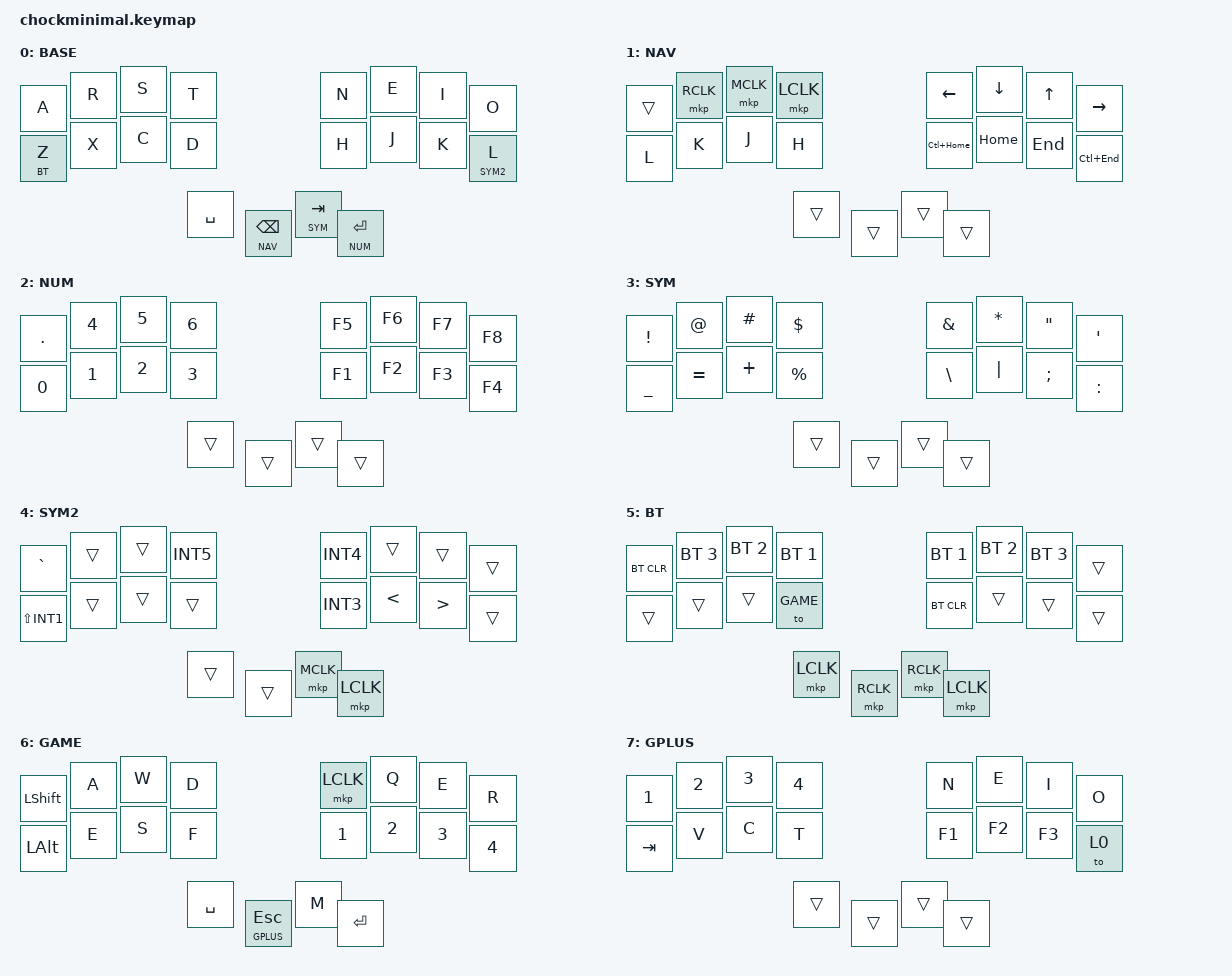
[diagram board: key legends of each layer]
#include <dt-bindings/zmk/mouse.h>
#include <behaviors/mouse_keys.dtsi>
#include <behaviors.dtsi>
#include <dt-bindings/zmk/bt.h>
#include <dt-bindings/zmk/keys.h>
#include <dt-bindings/zmk/outputs.h>
#include <dt-bindings/zmk/pointing.h>

/ {
  chosen { zmk,physical-layout = &chockminimal_layout; };
};

#define COMBO(NAME, LAYER, TIMEOUT, KEYPOS) \
    combo_##NAME { \
        layers = <LAYER>; \
        timeout-ms = <TIMEOUT>; \
        key-positions = <KEYPOS>; \
        bindings = <&kp NAME>; \
    };

#define MCOMBO(NAME, LAYER, TIMEOUT, KEYPOS) \
    combo_##NAME { \
        layers = <LAYER>; \
        timeout-ms = <TIMEOUT>; \
        key-positions = <KEYPOS>; \
        bindings = <&NAME>; \
    };

&lt {
    flavor = "tap-preferred";
    tapping-term-ms = <200>;
    quick-tap-ms = <0>;
};

&sl {
  release-after-ms = <2000>;
};

/ {
    behaviors {
        hml: homerow_mods_left {
            compatible = "zmk,behavior-hold-tap";
            #binding-cells = <2>;
            tapping-term-ms = <240>;
            quick_tap_ms = <0>;
            flavor = "balanced";
            bindings = <&kp>, <&kp>;
            hold-trigger-key-positions = <4 5 6 7 12 13 14 15 18 19>;
            hold-trigger-on-release;
        };
        hmr: homerow_mods_right {
            compatible = "zmk,behavior-hold-tap";
            #binding-cells = <2>;
            tapping-term-ms = <240>;
            quick_tap_ms = <0>;
            flavor = "balanced";
            bindings = <&kp>, <&kp>;
            hold-trigger-key-positions = <0 1 2 3 8 9 10 11 16 17>;
            hold-trigger-on-release;
        };
    };
    
     macros {
             meh: meh {
         	    label = "meh";
         	    compatible = "zmk,behavior-macro";
         	    #binding-cells = <0>;
         	    bindings
         	    	= <&macro_press   &sk LS(LC(LALT))>
         		, <&macro_pause_for_release>
         		, <&macro_release &sk LS(LC(LALT))>
         		;
             };
             
             hyper: hyper {
         	    label = "hyper";
         	    compatible = "zmk,behavior-macro";
         	    #binding-cells = <0>;
         	    bindings
         	    	= <&macro_press   &sk LS(LA(LC(LGUI)))>
         		, <&macro_pause_for_release>
         		, <&macro_release &sk LS(LA(LC(LGUI)))>
         		;
             };

             sls: sls {
               label = "sls";
               compatible = "zmk,behavior-macro";
               #binding-cells = <0>;
               bindings
                = <&macro_press &sk LSHFT>
                , <&macro_pause_for_release>
                , <&macro_release &sk LSHFT>
                ;
             };

             srs: srs {
               label = "srs";
               compatible = "zmk,behavior-macro";
               #binding-cells = <0>;
               bindings
                = <&macro_press &sk RSHFT>
                , <&macro_pause_for_release>
                , <&macro_release &sk RSHFT>
                ;
             };

             slc: slc {
               label = "slc";
               compatible = "zmk,behavior-macro";
               #binding-cells = <0>;
               bindings
                = <&macro_press &sk LCTRL>
                , <&macro_pause_for_release>
                , <&macro_release &sk LCTRL>
                ;
             };

             src: src {
               label = "src";
               compatible = "zmk,behavior-macro";
               #binding-cells = <0>;
               bindings
                = <&macro_press &sk RCTRL>
                , <&macro_pause_for_release>
                , <&macro_release &sk RCTRL>
                ;
             };

             sla: sla {
               label = "sla";
               compatible = "zmk,behavior-macro";
               #binding-cells = <0>;
               bindings
                = <&macro_press &sk LALT>
                , <&macro_pause_for_release>
                , <&macro_release &sk LALT>
                ;
             };

             sra: sra {
               label = "sra";
               compatible = "zmk,behavior-macro";
               #binding-cells = <0>;
               bindings
                = <&macro_press &sk RALT>
                , <&macro_pause_for_release>
                , <&macro_release &sk RALT>
                ;
             };

             slg: slg {
               label = "slg";
               compatible = "zmk,behavior-macro";
               #binding-cells = <0>;
               bindings
                = <&macro_press &sk LGUI>
                , <&macro_pause_for_release>
                , <&macro_release &sk LGUI>
                ;
             };

             srg: srg {
               label = "srg";
               compatible = "zmk,behavior-macro";
               #binding-cells = <0>;
               bindings
                = <&macro_press &sk RGUI>
                , <&macro_pause_for_release>
                , <&macro_release &sk RGUI>
                ;
             };
     };

     combos {
       compatible = "zmk,combos";

       COMBO(Q,      0, 55,  0  8)
       MCOMBO(slg,   0, 50,  0 16)
       COMBO(F,      0, 55,  1  2)
       COMBO(W,      0, 55,  1  9)
       COMBO(N7,     2, 50,  1  9)
       MCOMBO(sla,   0, 55,  1 16)
       COMBO(P,      0, 45,  2  3)
       COMBO(LPAR,   3, 50,  2  3)
       COMBO(N8,     2, 50,  2 10)
       MCOMBO(slc,   0, 55,  2 16)
       COMBO(G,      0, 50,  3 11)
       COMBO(N9,     2, 50,  3 11)
       COMBO(LBKT,   3, 50,  3 11)
       COMBO(LSHFT,  0, 55,  3 16)
       COMBO(ESC,    0, 50,  8  9)
       COMBO(B,      0, 50,  9 10)
       COMBO(V,      0, 60, 10 11)
       COMBO(LBRC,   3, 50, 10 11)
       COMBO(LANG2,  0, 50, 16 17)

       COMBO(U,      0, 35,  4  5)
       COMBO(RPAR,   3, 50,  4  5)
       COMBO(DOT,    0, 50,  4 12)
       COMBO(RBKT,   3, 50,  4 12)
       COMBO(F9,     2, 50,  4 12)
       MCOMBO(srs,   0, 55,  4 19)
       COMBO(Y,      0, 50,  5  6)
       COMBO(COMMA,  0, 50,  5 13)
       COMBO(F10,    2, 50,  5 13)
       MCOMBO(src,   0, 55,  5 19)
       COMBO(MINUS,  0, 55,  6  7)
       COMBO(F11,    2, 50,  6 14)
       MCOMBO(sra,   0, 55,  6 19)
       COMBO(F12,    2, 50,  7 15)
       MCOMBO(srg,   0, 55,  7 19)
       COMBO(M,      0, 50, 12 13)
       COMBO(RBRC,   3, 50, 12 13)
       COMBO(FSLH,   0, 55, 12 14)
       COMBO(DEL,    0, 55, 12 15)
       MCOMBO(caps_word, 0, 55, 14 15)
       COMBO(LANG1,  0, 50, 18 19)

     };

  keymap {
    compatible = "zmk,keymap";
    // ╭─────────────┬─────────────┬─────────────┬─────────────╮   ╭─────────────┬─────────────┬─────────────┬─────────────┐
    //    0             1             2             3                 4             5             6             7
    // ├─────────────┼─────────────┼─────────────┼─────────────┤   ├─────────────┼─────────────┼─────────────┼─────────────┤
    //    8             9            10            11                12            13            14            15
    // ├─────────────┼─────────────┼─────────────┼─────────────┤   ├─────────────┼─────────────┼─────────────┼─────────────┤
    //                             ╭─────────────┬─────────────╮   ╭─────────────┬─────────────╮
    //                               16            17                18            19
    //                             ╰─────────────┴─────────────╯   ╰─────────────┴─────────────╯


    base_layer {
      display-name = "BASE";
      bindings = <

      // ╭─────────────────┬─────────────────┬─────────────────┬─────────────────╮ ╭─────────────┬─────────────────┬─────────────────┬─────────────────┐
          &kp A             &kp R             &kp S             &kp T               &kp N         &kp E             &kp I             &kp O
      // ├─────────────────┼─────────────────┼─────────────────┼─────────────────┤ ├─────────────┼─────────────────┼─────────────────┼─────────────────┤
          &lt BT Z          &kp X             &kp C             &kp D               &kp H         &kp J             &kp K             &lt SYM2 L
      // ├─────────────────┼─────────────────┼─────────────────┼─────────────────┤ ├─────────────┼─────────────────┼─────────────────┼─────────────────┤
      //                   ╭──────────────────────────┬──────────────────────────╮ ╭──────────────────────────┬──────────────────────────╮
                            &kp SPACE                  &lt NAV BSPC                 &lt SYM TAB                &lt NUM ENTER
      //                   ╰──────────────────────────┴──────────────────────────╯ ╰──────────────────────────┴──────────────────────────╯
      >;
    };
    nav_layer {
      display-name = "NAV";
      bindings = <

      // ╭─────────────────┬─────────────────┬─────────────────┬─────────────────╮ ╭─────────────┬─────────────────┬─────────────────┬─────────────────┐
          &trans            &mkp RCLK         &mkp MCLK         &mkp LCLK           &kp LEFT      &kp DOWN          &kp UP            &kp RIGHT
      // ├─────────────────┼─────────────────┼─────────────────┼─────────────────┤ ├─────────────┼─────────────────┼─────────────────┼─────────────────┤
          &kp L             &kp K             &kp J             &kp H               &kp LC(HOME)  &kp HOME          &kp END           &kp LC(END)
      // ├─────────────────┼─────────────────┼─────────────────┼─────────────────┤ ├─────────────┼─────────────────┼─────────────────┼─────────────────┤
      //                   ╭──────────────────────────┬──────────────────────────╮ ╭──────────────────────────┬──────────────────────────╮
                            &trans                     &trans                       &trans                     &trans
      //                   ╰──────────────────────────┴──────────────────────────╯ ╰──────────────────────────┴──────────────────────────╯
      >;
    };
    num_layer {
      display-name = "NUM";
      bindings = <

      // ╭─────────────────┬─────────────────┬─────────────────┬─────────────────╮ ╭─────────────┬─────────────────┬─────────────────┬─────────────────┐
          &kp DOT           &kp N4            &kp N5            &kp N6              &kp F5        &kp F6            &kp F7            &kp F8
      // ├─────────────────┼─────────────────┼─────────────────┼─────────────────┤ ├─────────────┼─────────────────┼─────────────────┼─────────────────┤
          &kp N0            &kp N1            &kp N2            &kp N3              &kp F1        &kp F2            &kp F3            &kp F4
      // ├─────────────────┼─────────────────┼─────────────────┼─────────────────┤ ├─────────────┼─────────────────┼─────────────────┼─────────────────┤
      //                   ╭──────────────────────────┬──────────────────────────╮ ╭──────────────────────────┬──────────────────────────╮
                            &trans                     &trans                       &trans                     &trans
      //                   ╰──────────────────────────┴──────────────────────────╯ ╰──────────────────────────┴──────────────────────────╯
      >;
    };
    sym_layer {
      display-name = "SYM";
      bindings = <

      // ╭─────────────────┬─────────────────┬─────────────────┬─────────────────╮ ╭─────────────┬─────────────────┬─────────────────┬─────────────────┐
          &kp EXCL          &kp AT            &kp HASH          &kp DLLR            &kp AMPS      &kp STAR          &kp DQT           &kp SQT
      // ├─────────────────┼─────────────────┼─────────────────┼─────────────────┤ ├─────────────┼─────────────────┼─────────────────┼─────────────────┤
          &kp UNDER         &kp EQUAL         &kp PLUS          &kp PRCNT           &kp BSLH      &kp PIPE          &kp SEMI          &kp COLON
      // ├─────────────────┼─────────────────┼─────────────────┼─────────────────┤ ├─────────────┼─────────────────┼─────────────────┼─────────────────┤
      //                   ╭──────────────────────────┬──────────────────────────╮ ╭──────────────────────────┬──────────────────────────╮
                            &trans                     &trans                       &trans                     &trans
      //                   ╰──────────────────────────┴──────────────────────────╯ ╰──────────────────────────┴──────────────────────────╯
      >;
    };
    sym2_layer {
      display-name = "SYM2";
      bindings = <

      // ╭─────────────────┬─────────────────┬─────────────────┬─────────────────╮ ╭─────────────┬─────────────────┬─────────────────┬─────────────────┐
          &kp GRAVE         &trans            &trans            &kp INT5            &kp INT4      &trans            &trans            &trans
      // ├─────────────────┼─────────────────┼─────────────────┼─────────────────┤ ├─────────────┼─────────────────┼─────────────────┼─────────────────┤
          &kp LS(INT1)      &trans            &trans            &trans              &kp INT3      &kp LESS_THAN     &kp GREATER_THAN  &trans
      // ├─────────────────┼─────────────────┼─────────────────┼─────────────────┤ ├─────────────┼─────────────────┼─────────────────┼─────────────────┤
      //                   ╭──────────────────────────┬──────────────────────────╮ ╭──────────────────────────┬──────────────────────────╮
                            &trans                     &trans                       &mkp MCLK                  &mkp LCLK
      //                   ╰──────────────────────────┴──────────────────────────╯ ╰──────────────────────────┴──────────────────────────╯
      >;
    };
    bt_layer {
      display-name = "BT";
      bindings = <

      // ╭─────────────────┬─────────────────┬─────────────────┬─────────────────╮ ╭─────────────┬─────────────────┬─────────────────┬─────────────────┐
          &bt BT_CLR        &bt BT_SEL 3      &bt BT_SEL 2      &bt BT_SEL 1        &bt BT_SEL 1  &bt BT_SEL 2      &bt BT_SEL 3      &trans
      // ├─────────────────┼─────────────────┼─────────────────┼─────────────────┤ ├─────────────┼─────────────────┼─────────────────┼─────────────────┤
          &trans            &trans            &trans            &to GAME            &bt BT_CLR    &trans            &trans            &trans
      // ├─────────────────┼─────────────────┼─────────────────┼─────────────────┤ ├─────────────┼─────────────────┼─────────────────┼─────────────────┤
      //                   ╭──────────────────────────┬──────────────────────────╮ ╭──────────────────────────┬──────────────────────────╮
                            &mkp LCLK                  &mkp RCLK                    &mkp RCLK                  &mkp LCLK
      //                   ╰──────────────────────────┴──────────────────────────╯ ╰──────────────────────────┴──────────────────────────╯
      >;
    };
    game_layer {
      display-name = "GAME";
      bindings = <

      // ╭─────────────────┬─────────────────┬─────────────────┬─────────────────╮ ╭─────────────┬─────────────────┬─────────────────┬─────────────────┐
          &kp LSHFT         &kp A             &kp W             &kp D               &mkp LCLK     &kp Q             &kp E             &kp R
      // ├─────────────────┼─────────────────┼─────────────────┼─────────────────┤ ├─────────────┼─────────────────┼─────────────────┼─────────────────┤
          &kp LALT          &kp E             &kp S             &kp F               &kp N1        &kp N2            &kp N3            &kp N4
      // ├─────────────────┼─────────────────┼─────────────────┼─────────────────┤ ├─────────────┼─────────────────┼─────────────────┼─────────────────┤
      //                   ╭──────────────────────────┬──────────────────────────╮ ╭──────────────────────────┬──────────────────────────╮
                            &kp SPACE                  &lt GPLUS ESC                &kp M                      &kp ENTER
      //                   ╰──────────────────────────┴──────────────────────────╯ ╰──────────────────────────┴──────────────────────────╯
      >;
    };
    gplus_layer {
      display-name = "GPLUS";
      bindings = <

      // ╭─────────────────┬─────────────────┬─────────────────┬─────────────────╮ ╭─────────────┬─────────────────┬─────────────────┬─────────────────┐
          &kp N1            &kp N2            &kp N3            &kp N4              &kp N         &kp E             &kp I             &kp O
      // ├─────────────────┼─────────────────┼─────────────────┼─────────────────┤ ├─────────────┼─────────────────┼─────────────────┼─────────────────┤
          &kp TAB           &kp V             &kp C             &kp T               &kp F1        &kp F2            &kp F3            &to 0
      // ├─────────────────┼─────────────────┼─────────────────┼─────────────────┤ ├─────────────┼─────────────────┼─────────────────┼─────────────────┤
      //                   ╭──────────────────────────┬──────────────────────────╮ ╭──────────────────────────┬──────────────────────────╮
                            &trans                     &trans                       &trans                     &trans
      //                   ╰──────────────────────────┴──────────────────────────╯ ╰──────────────────────────┴──────────────────────────╯
      >;
    };
  };
};
